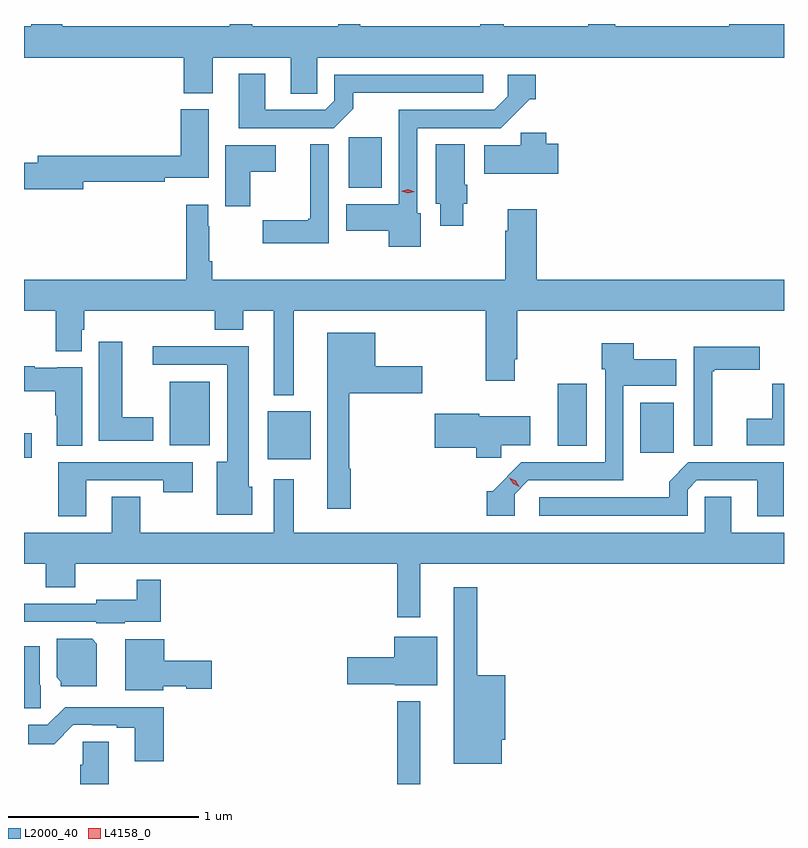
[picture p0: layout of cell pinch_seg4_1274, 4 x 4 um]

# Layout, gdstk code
import gdstk
lib = gdstk.Library(unit=1e-6, precision=1e-09)
def R(c, l, rs):  # rectangles x0, y0, x1, y1
    for r in rs: c.add(gdstk.rectangle(r[:2], r[2:], *l))
def P(c, l, *ps):  # polygons
    for p in ps: c.add(gdstk.Polygon(p, *l))
L2000_40 = (2000, 40)
L4158_0 = (4158, 0)

pinch_seg4_1274 = lib.new_cell('pinch_seg4_1274')
R(pinch_seg4_1274, L2000_40, [(366.066,773.017,366.187,773.452), (365.384,774.725,365.611,774.979), (364.102,774.733,364.144,774.862), (367.346,774.761,367.522,775.024), (366.911,774.796,367.063,775.123), (364.868,774.8,365.08,775.135), (365.81,776.156,365.986,776.42)])
P(pinch_seg4_1274, L2000_40, [(365.646,776.84),(368.102,776.84),(368.102,777.017),(367.814,777.017),(367.814,777.004),(367.213,777.004),(367.213,777.017),(367.073,777.017),(367.073,777.004),(366.628,777.004),(366.628,777.017),(366.503,777.017),(366.503,777.004),(365.873,777.004),(365.873,777.017),(365.756,777.017),(365.756,777.004),(365.303,777.004),(365.303,777.017),(365.185,777.017),(365.185,777.004),(364.304,777.004),(364.304,777.017),(364.139,777.017),(364.139,777.004),(364.102,777.004),(364.102,776.84),(364.943,776.84),(364.943,776.653),(365.095,776.653),(365.095,776.84),(365.507,776.84),(365.507,776.65),(365.646,776.65)],
  [(365.835,776.571),(365.835,776.655),(366.52,776.655),(366.52,776.751),(365.736,776.751),(365.736,776.613),(365.688,776.565),(365.371,776.565),(365.371,776.755),(365.231,776.755),(365.231,776.469),(365.733,776.469)],
  [(366.19,776.022),(366.171,776.022),(366.171,776.469),(366.612,776.469),(366.764,776.621),(366.796,776.621),(366.796,776.751),(366.648,776.751),(366.648,776.637),(366.576,776.565),(366.075,776.565),(366.075,776.068),(365.799,776.068),(365.799,775.928),(366.022,775.928),(366.022,775.844),(366.19,775.844)],
  [(364.414,776.188),(364.844,776.188),(364.844,776.207),(365.074,776.207),(365.074,776.568),(364.928,776.568),(364.928,776.324),(364.175,776.324),(364.175,776.288),(364.102,776.288),(364.102,776.146),(364.414,776.146)],
  [(366.913,776.388),(366.851,776.388),(366.851,776.445),(366.717,776.445),(366.717,776.38),(366.525,776.38),(366.525,776.228),(366.913,776.228)],
  [(366.415,776.07),(366.434,776.07),(366.434,776.17),(366.421,776.17),(366.421,776.384),(366.269,776.384),(366.269,776.07),(366.293,776.07),(366.293,775.955),(366.415,775.955)],
  [(365.706,776.384),(365.609,776.384),(365.609,775.992),(365.598,775.992),(365.598,775.984),(365.358,775.984),(365.358,775.862),(365.706,775.862)],
  [(365.292,776.24),(365.428,776.24),(365.428,776.38),(365.162,776.38),(365.162,776.058),(365.292,776.058)],
  [(366.647,775.928),(366.635,775.928),(366.635,775.672),(365.093,775.672),(365.093,775.768),(365.078,775.768),(365.078,775.952),(365.073,775.952),(365.073,776.065),(364.957,776.065),(364.957,775.672),(364.102,775.672),(364.102,775.508),(364.27,775.508),(364.27,775.295),(364.405,775.295),(364.405,775.407),(364.418,775.407),(364.418,775.508),(365.105,775.508),(365.105,775.409),(365.257,775.409),(365.257,775.508),(365.417,775.508),(365.417,775.064),(365.521,775.064),(365.521,775.508),(366.533,775.508),(366.533,775.14),(366.685,775.14),(366.685,775.252),(366.698,775.252),(366.698,775.508),(368.102,775.508),(368.102,775.672),(366.8,775.672),(366.8,776.041),(366.647,776.041)],
  [(365.821,774.677),(365.813,774.677),(365.813,775.073),(366.199,775.073),(366.199,775.215),(365.95,775.215),(365.95,775.393),(365.699,775.393),(365.699,774.465),(365.821,774.465)],
  [(364.783,774.946),(364.618,774.946),(364.618,775.345),(364.496,775.345),(364.496,774.824),(364.783,774.824)],
  [(366.684,774.543),(366.756,774.615),(367.257,774.615),(367.257,775.112),(367.534,775.112),(367.534,775.252),(367.311,775.252),(367.311,775.336),(367.142,775.336),(367.142,775.2),(367.161,775.2),(367.161,774.711),(366.72,774.711),(366.568,774.559),(366.537,774.559),(366.537,774.429),(366.684,774.429)],
  [(365.302,774.582),(365.284,774.582),(365.284,775.322),(364.779,775.322),(364.779,775.224),(365.171,775.224),(365.171,774.712),(365.117,774.712),(365.117,774.434),(365.302,774.434)],
  [(367.724,775.189),(367.735,775.189),(367.735,775.196),(367.975,775.196),(367.975,775.318),(367.626,775.318),(367.626,774.796),(367.724,774.796)],
  [(364.408,775.21),(364.278,775.21),(364.278,775.207),(364.158,775.207),(364.158,775.215),(364.102,775.215),(364.102,775.085),(364.267,775.085),(364.267,774.958),(364.274,774.958),(364.274,774.796),(364.408,774.796)],
  [(368.102,775.123),(368.041,775.123),(368.041,774.94),(367.905,774.94),(367.905,774.8),(368.102,774.8)],
  [(366.615,774.8),(366.766,774.8),(366.766,774.952),(366.498,774.952),(366.498,774.965),(366.264,774.965),(366.264,774.787),(366.482,774.787),(366.482,774.735),(366.615,774.735)],
  [(368.101,774.711),(367.599,774.711),(367.498,774.609),(367.498,774.525),(366.813,774.525),(366.813,774.429),(367.596,774.429),(367.596,774.567),(367.644,774.615),(367.961,774.615),(367.961,774.426),(368.101,774.426)],
  [(364.429,774.615),(364.834,774.615),(364.834,774.552),(364.99,774.552),(364.99,774.711),(364.282,774.711),(364.282,774.426),(364.429,774.426)],
  [(366.187,774.176),(368.102,774.176),(368.102,774.34),(367.825,774.34),(367.825,774.53),(367.686,774.53),(367.686,774.34),(365.521,774.34),(365.521,774.622),(365.417,774.622),(365.417,774.34),(364.713,774.34),(364.713,774.53),(364.565,774.53),(364.565,774.34),(364.102,774.34),(364.102,774.176),(364.216,774.176),(364.216,774.052),(364.371,774.052),(364.371,774.176),(366.066,774.176),(366.066,773.895),(366.187,773.895)],
  [(364.632,773.87),(364.823,773.87),(364.823,774.091),(364.695,774.091),(364.695,773.986),(364.482,773.986),(364.482,773.967),(364.102,773.967),(364.102,773.871),(364.482,773.871),(364.482,773.864),(364.632,773.864)],
  [(366.616,773.25),(366.634,773.25),(366.634,773.59),(366.487,773.59),(366.487,774.052),(366.365,774.052),(366.365,773.123),(366.616,773.123)],
  [(366.277,773.791),(366.05,773.791),(366.05,773.685),(365.802,773.685),(365.802,773.543),(366.054,773.543),(366.054,773.537),(366.277,773.537)],
  [(364.486,773.756),(364.46,773.782),(364.274,773.782),(364.274,773.578),(364.296,773.556),(364.296,773.531),(364.486,773.531)],
  [(364.836,773.531),(364.956,773.531),(364.956,773.519),(365.089,773.519),(365.089,773.666),(364.84,773.666),(364.84,773.78),(364.634,773.78),(364.634,773.51),(364.836,773.51)],
  [(364.19,773.538),(364.186,773.538),(364.186,773.743),(364.102,773.743),(364.102,773.415),(364.19,773.415)],
  [(364.838,773.422),(364.318,773.422),(364.224,773.328),(364.125,773.328),(364.125,773.226),(364.26,773.226),(364.362,773.328),(364.462,773.328),(364.462,773.325),(364.589,773.325),(364.589,773.313),(364.685,773.313),(364.685,773.136),(364.838,773.136)],
  [(364.549,773.24),(364.41,773.24),(364.41,773.118),(364.397,773.118),(364.397,773.017),(364.549,773.017)])
P(pinch_seg4_1274, L4158_0, [(366.709,774.581),(366.676,774.598),(366.655,774.629),(366.655,774.629),(366.655,774.629),(366.689,774.613),(366.709,774.581),(366.709,774.581)],
  [(366.122,776.126),(366.087,776.137),(366.087,776.137),(366.087,776.137),(366.123,776.146),(366.159,776.135),(366.159,776.134),(366.159,776.134)])

lib.write_gds('pinch_seg4_1274.gds')
